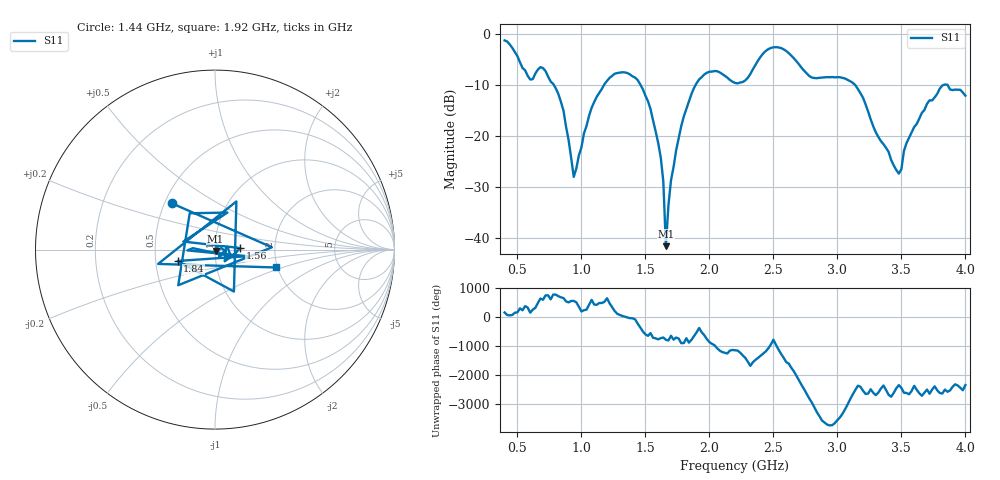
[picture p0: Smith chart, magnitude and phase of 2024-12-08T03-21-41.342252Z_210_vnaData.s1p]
!Created with skrf (http://scikit-rf.org).
# Hz S RI R 50.0
!freq ReS11 ImS11
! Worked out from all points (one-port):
!   181 points, 400 MHz to 4 GHz, reference 50 ohm
!   lowest |S11| = -41.7 dB at 1.66 GHz (marker M1), VSWR 1.02, Z = 50.4 - j0.748 ohm
!   |S11| at or under -10 dB: 783.3 MHz to 1.178 GHz (394.8 MHz wide, 40.3 % of centre); 1.461 GHz to 1.894 GHz (433.2 MHz wide, 25.8 % of centre); 3.136 GHz to 3.837 GHz (701.1 MHz wide, 20.1 % of centre) (the widest 3 of 4)
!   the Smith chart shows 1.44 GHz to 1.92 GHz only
!   S11 on the Smith chart (normalised r, x): 1.44 GHz: 0.55, +0.32; 1.56 GHz: 1.33, +0.02; 1.84 GHz: 0.65, -0.09; 1.92 GHz: 1.97, -0.45
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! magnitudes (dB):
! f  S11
! 400 MHz  -1.3
! 600 MHz  -9.0
! 720 MHz  -7.3
! 860 MHz  -15.1
! 940 MHz  -28.1
! 1.1 GHz  -13.4
! 1.3 GHz  -7.7
! 1.44 GHz  -9.1
! 1.56 GHz  -17.1
! 1.62 GHz  -24.3
! 1.64 GHz  -29.0
! 1.66 GHz  -41.7
! 1.68 GHz  -33.7
! 1.7 GHz  -28.8
! 1.76 GHz  -20.5
! 1.84 GHz  -13.2
! 1.92 GHz  -9.0
! 2.06 GHz  -7.4
! 2.2 GHz  -9.7
! 2.48 GHz  -2.8
! 2.66 GHz  -4.8
! 2.8 GHz  -8.6
! 3.1 GHz  -9.3
! 3.2 GHz  -12.6
! 3.48 GHz  -27.5
! 3.56 GHz  -20.4
! 3.82 GHz  -10.2
! 4 GHz  -12.2
